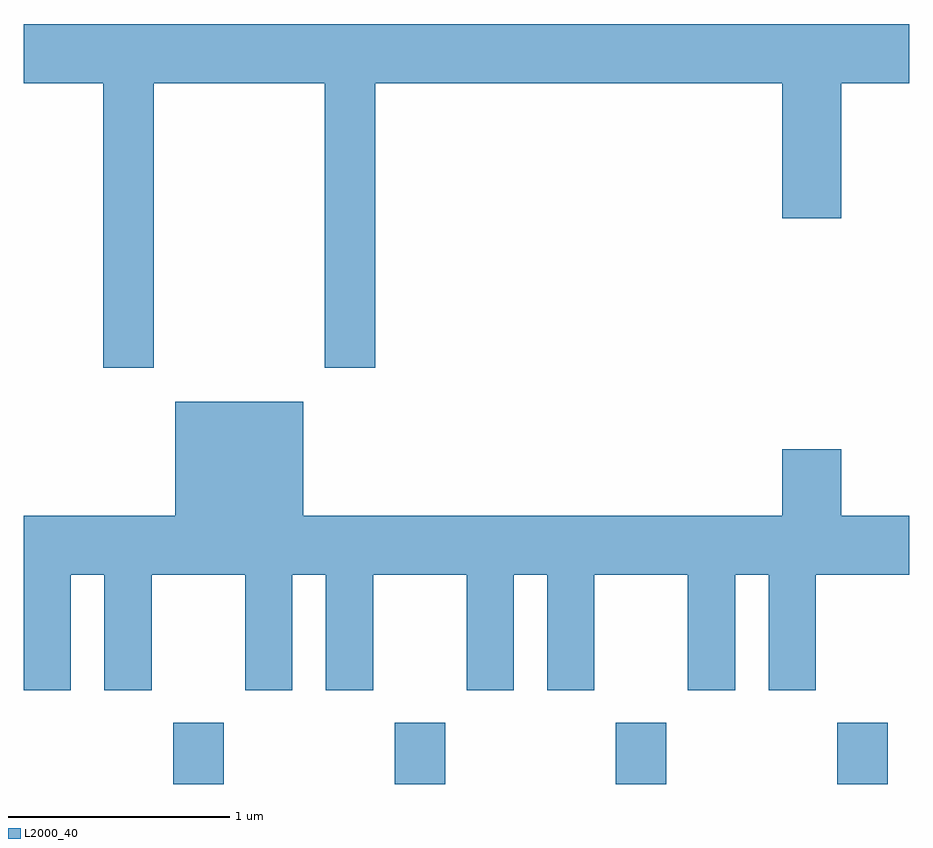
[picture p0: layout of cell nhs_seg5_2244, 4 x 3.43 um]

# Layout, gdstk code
import gdstk
lib = gdstk.Library(unit=1e-6, precision=1e-09)
def R(c, l, rs):  # rectangles x0, y0, x1, y1
    for r in rs: c.add(gdstk.rectangle(r[:2], r[2:], *l))
def A(c, l, x, y, w, h, nx, ny, dx, dy):  # array of equal rectangles
    R(c, l, [(x+i*dx, y+j*dy, x+i*dx+w, y+j*dy+h) for i in range(nx) for j in range(ny)])
def P(c, l, *ps):  # polygons
    for p in ps: c.add(gdstk.Polygon(p, *l))
L2000_40 = (2000, 40)

nhs_seg5_2244 = lib.new_cell('nhs_seg5_2244')
A(nhs_seg5_2244, L2000_40, 252.286, 1458.072, 0.228, 0.277, 4, 1, 1, 0)
P(nhs_seg5_2244, L2000_40, [(252.199,1461.236),(252.971,1461.236),(252.971,1459.951),(253.199,1459.951),(253.199,1461.236),(255.036,1461.236),(255.036,1460.626),(255.304,1460.626),(255.304,1461.236),(255.611,1461.236),(255.611,1461.504),(251.611,1461.504),(251.611,1461.236),(251.971,1461.236),(251.971,1459.951),(252.199,1459.951)],
  [(252.874,1459.799),(252.296,1459.799),(252.296,1459.284),(251.611,1459.284),(251.611,1458.496),(251.824,1458.496),(251.824,1459.016),(251.976,1459.016),(251.976,1458.496),(252.189,1458.496),(252.189,1459.016),(252.611,1459.016),(252.611,1458.496),(252.824,1458.496),(252.824,1459.016),(252.976,1459.016),(252.976,1458.496),(253.189,1458.496),(253.189,1459.016),(253.611,1459.016),(253.611,1458.496),(253.824,1458.496),(253.824,1459.016),(253.976,1459.016),(253.976,1458.496),(254.189,1458.496),(254.189,1459.016),(254.611,1459.016),(254.611,1458.496),(254.824,1458.496),(254.824,1459.016),(254.976,1459.016),(254.976,1458.496),(255.189,1458.496),(255.189,1459.016),(255.611,1459.016),(255.611,1459.284),(255.304,1459.284),(255.304,1459.584),(255.036,1459.584),(255.036,1459.284),(252.874,1459.284)])

lib.write_gds('nhs_seg5_2244.gds')
